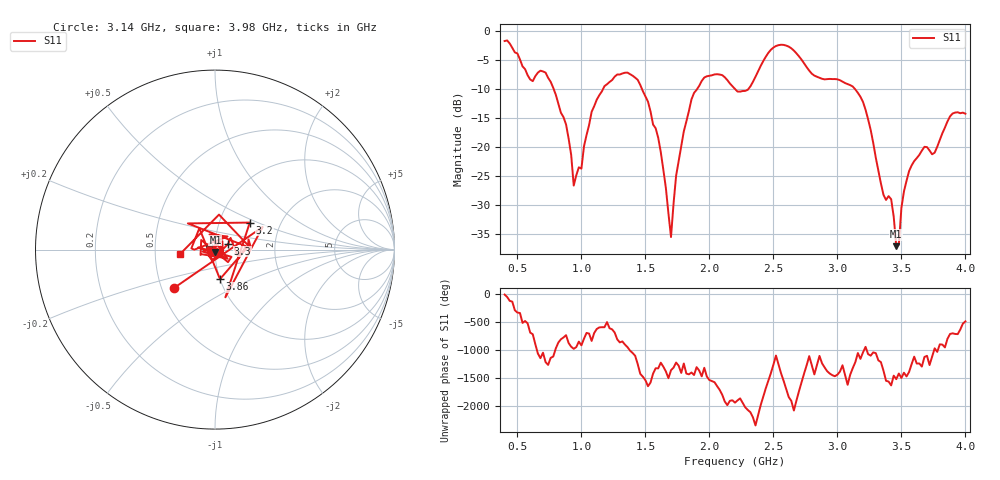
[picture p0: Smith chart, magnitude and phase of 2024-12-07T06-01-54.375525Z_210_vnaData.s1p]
!Created with skrf (http://scikit-rf.org).
# Hz S RI R 50.0
!freq ReS11 ImS11
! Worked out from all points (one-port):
!   181 points, 400 MHz to 4 GHz, reference 50 ohm
!   lowest |S11| = -37.0 dB at 3.46 GHz (marker M1), VSWR 1.03, Z = 50.2 - j1.39 ohm
!   |S11| at or under -10 dB: 783.7 MHz to 1.169 GHz (384.9 MHz wide, 39.4 % of centre); 1.474 GHz to 1.904 GHz (429.9 MHz wide, 25.5 % of centre); 3.138 GHz to end of sweep (the widest 3 of 4)
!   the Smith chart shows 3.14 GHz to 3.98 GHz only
!   S11 on the Smith chart (normalised r, x): 3.14 GHz: 0.58, -0.28; 3.2 GHz: 1.40, +0.45; 3.3 GHz: 1.16, +0.08; 3.86 GHz: 1.00, -0.34; 3.98 GHz: 0.67, -0.04
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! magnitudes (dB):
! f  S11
! 400 MHz  -1.7
! 600 MHz  -8.3
! 720 MHz  -7.2
! 860 MHz  -14.8
! 940 MHz  -26.6
! 1 GHz  -23.7
! 1.08 GHz  -13.9
! 1.3 GHz  -7.5
! 1.52 GHz  -12.1
! 1.62 GHz  -20.8
! 1.7 GHz  -35.5
! 1.76 GHz  -22.4
! 1.86 GHz  -11.8
! 1.96 GHz  -8.0
! 2.2 GHz  -10.0
! 2.5 GHz  -2.8
! 2.66 GHz  -3.4
! 3.1 GHz  -9.3
! 3.14 GHz  -10.0
! 3.2 GHz  -12.2
! 3.3 GHz  -21.8
! 3.36 GHz  -28.2
! 3.42 GHz  -29.0
! 3.46 GHz  -37.0
! 3.56 GHz  -24.1
! 3.86 GHz  -15.6
! 3.98 GHz  -14.0
! 4 GHz  -14.2
